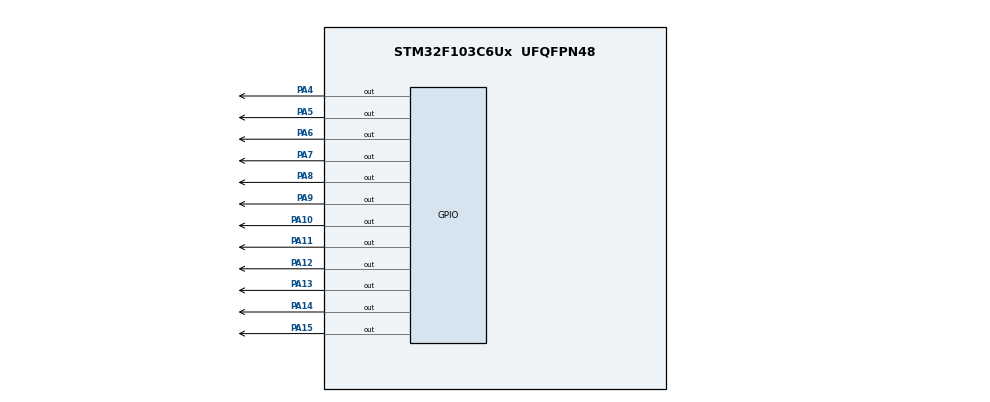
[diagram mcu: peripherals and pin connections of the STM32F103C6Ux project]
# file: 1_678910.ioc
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Mcu.Family=STM32F1
Mcu.Name=STM32F103C6Ux
Mcu.Package=UFQFPN48
NVIC.PriorityGroup=NVIC_PRIORITYGROUP_4
NVIC.TIM2_IRQn=true\:0\:0\:false\:false\:true\:true\:true\:true
PA10.Signal=GPIO_Output
PA11.Signal=GPIO_Output
PA12.Signal=GPIO_Output
PA13.Signal=GPIO_Output
PA14.Signal=GPIO_Output
PA15.Signal=GPIO_Output
PA4.Signal=GPIO_Output
PA5.Signal=GPIO_Output
PA6.Signal=GPIO_Output
PA7.Signal=GPIO_Output
PA8.Signal=GPIO_Output
PA9.Signal=GPIO_Output
ProjectManager.HeapSize=0x200
ProjectManager.StackSize=0x400
ProjectManager.TargetToolchain=STM32CubeIDE
RCC.APB1Freq_Value=8000000
RCC.APB2Freq_Value=8000000
TIM2.Period=9
TIM2.Prescaler=7999
VP_TIM2_VS_ClockSourceINT.Mode=Internal
board=custom

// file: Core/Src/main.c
/* USER CODE BEGIN Header */
/**
  ******************************************************************************
  * @file           : main.c
  * @brief          : Main program body
  ******************************************************************************
  * @attention
  *
  * Copyright (c) 2023 STMicroelectronics.
  * All rights reserved.
  *
  * This software is licensed under terms that can be found in the LICENSE file
  * in the root directory of this software component.
  * If no LICENSE file comes with this software, it is provided AS-IS.
  *
  ******************************************************************************
  */
/* USER CODE END Header */
#include "main.h"

/* USER CODE BEGIN Includes */
#include "softwaretimer.h"
/* USER CODE END Includes */

TIM_HandleTypeDef htim2;

void SystemClock_Config(void);
static void MX_GPIO_Init(void);
static void MX_TIM2_Init(void);

int main(void)
{

  /* MCU Configuration--------------------------------------------------------*/

  /* Reset of all peripherals, Initializes the Flash interface and the Systick. */
  HAL_Init();

  /* Configure the system clock */
  SystemClock_Config();

  /* Initialize all configured peripherals */
  MX_GPIO_Init();
  MX_TIM2_Init();
  /* USER CODE BEGIN 2 */
  HAL_TIM_Base_Start_IT(&htim2);
  settimer0(100);
  HAL_GPIO_TogglePin(GPIOA, GPIO_PIN_4);
  HAL_GPIO_TogglePin(GPIOA, GPIO_PIN_5);
  HAL_GPIO_TogglePin(GPIOA, GPIO_PIN_6);
  HAL_GPIO_TogglePin(GPIOA, GPIO_PIN_7);
  HAL_GPIO_TogglePin(GPIOA, GPIO_PIN_8);
  HAL_GPIO_TogglePin(GPIOA, GPIO_PIN_9);
  HAL_GPIO_TogglePin(GPIOA, GPIO_PIN_10);
  HAL_GPIO_TogglePin(GPIOA, GPIO_PIN_11);
  HAL_GPIO_TogglePin(GPIOA, GPIO_PIN_12);
  HAL_GPIO_TogglePin(GPIOA, GPIO_PIN_13);
  HAL_GPIO_TogglePin(GPIOA, GPIO_PIN_14);
  HAL_GPIO_TogglePin(GPIOA, GPIO_PIN_15);
  /* USER CODE END 2 */

  /* Infinite loop */
  while (1)
  {
	  if (timerflag0 == 1)
	  	  {
		  	  HAL_GPIO_TogglePin(GPIOA, GPIO_PIN_4);
		  	  HAL_GPIO_TogglePin(GPIOA, GPIO_PIN_5);
		  	  HAL_GPIO_TogglePin(GPIOA, GPIO_PIN_6);
		  	  HAL_GPIO_TogglePin(GPIOA, GPIO_PIN_7);
		  	  HAL_GPIO_TogglePin(GPIOA, GPIO_PIN_8);
		  	  HAL_GPIO_TogglePin(GPIOA, GPIO_PIN_9);
		  	  HAL_GPIO_TogglePin(GPIOA, GPIO_PIN_10);
		  	  HAL_GPIO_TogglePin(GPIOA, GPIO_PIN_11);
		  	  HAL_GPIO_TogglePin(GPIOA, GPIO_PIN_12);
		  	  HAL_GPIO_TogglePin(GPIOA, GPIO_PIN_13);
		  	  HAL_GPIO_TogglePin(GPIOA, GPIO_PIN_14);
		  	  HAL_GPIO_TogglePin(GPIOA, GPIO_PIN_15);
		  	  settimer0(100);
	  	  }
  }
}

void SystemClock_Config(void)
{
  RCC_OscInitTypeDef RCC_OscInitStruct = {0};
  RCC_ClkInitTypeDef RCC_ClkInitStruct = {0};

  /** Initializes the RCC Oscillators according to the specified parameters
  * in the RCC_OscInitTypeDef structure.
  */
  RCC_OscInitStruct.OscillatorType = RCC_OSCILLATORTYPE_HSI;
  RCC_OscInitStruct.HSIState = RCC_HSI_ON;
  RCC_OscInitStruct.HSICalibrationValue = RCC_HSICALIBRATION_DEFAULT;
  RCC_OscInitStruct.PLL.PLLState = RCC_PLL_NONE;
  if (HAL_RCC_OscConfig(&RCC_OscInitStruct) != HAL_OK)
  {
    Error_Handler();
  }

  /** Initializes the CPU, AHB and APB buses clocks
  */
  RCC_ClkInitStruct.ClockType = RCC_CLOCKTYPE_HCLK|RCC_CLOCKTYPE_SYSCLK
                              |RCC_CLOCKTYPE_PCLK1|RCC_CLOCKTYPE_PCLK2;
  RCC_ClkInitStruct.SYSCLKSource = RCC_SYSCLKSOURCE_HSI;
  RCC_ClkInitStruct.AHBCLKDivider = RCC_SYSCLK_DIV1;
  RCC_ClkInitStruct.APB1CLKDivider = RCC_HCLK_DIV1;
  RCC_ClkInitStruct.APB2CLKDivider = RCC_HCLK_DIV1;

  if (HAL_RCC_ClockConfig(&RCC_ClkInitStruct, FLASH_LATENCY_0) != HAL_OK)
  {
    Error_Handler();
  }
}

static void MX_TIM2_Init(void)
{

  TIM_ClockConfigTypeDef sClockSourceConfig = {0};
  TIM_MasterConfigTypeDef sMasterConfig = {0};

  htim2.Instance = TIM2;
  htim2.Init.Prescaler = 7999;
  htim2.Init.CounterMode = TIM_COUNTERMODE_UP;
  htim2.Init.Period = 9;
  htim2.Init.ClockDivision = TIM_CLOCKDIVISION_DIV1;
  htim2.Init.AutoReloadPreload = TIM_AUTORELOAD_PRELOAD_DISABLE;
  if (HAL_TIM_Base_Init(&htim2) != HAL_OK)
  {
    Error_Handler();
  }
  sClockSourceConfig.ClockSource = TIM_CLOCKSOURCE_INTERNAL;
  if (HAL_TIM_ConfigClockSource(&htim2, &sClockSourceConfig) != HAL_OK)
  {
    Error_Handler();
  }
  sMasterConfig.MasterOutputTrigger = TIM_TRGO_RESET;
  sMasterConfig.MasterSlaveMode = TIM_MASTERSLAVEMODE_DISABLE;
  if (HAL_TIMEx_MasterConfigSynchronization(&htim2, &sMasterConfig) != HAL_OK)
  {
    Error_Handler();
  }

}

static void MX_GPIO_Init(void)
{
  GPIO_InitTypeDef GPIO_InitStruct = {0};

  /* GPIO Ports Clock Enable */
  __HAL_RCC_GPIOA_CLK_ENABLE();

  /*Configure GPIO pin Output Level */
  HAL_GPIO_WritePin(GPIOA, GPIO_PIN_4|GPIO_PIN_5|GPIO_PIN_6|GPIO_PIN_7
                          |GPIO_PIN_8|GPIO_PIN_9|GPIO_PIN_10|GPIO_PIN_11
                          |GPIO_PIN_12|GPIO_PIN_13|GPIO_PIN_14|GPIO_PIN_15, GPIO_PIN_RESET);

  /*Configure GPIO pins : PA4 PA5 PA6 PA7
                           PA8 PA9 PA10 PA11
                           PA12 PA13 PA14 PA15 */
  GPIO_InitStruct.Pin = GPIO_PIN_4|GPIO_PIN_5|GPIO_PIN_6|GPIO_PIN_7
                          |GPIO_PIN_8|GPIO_PIN_9|GPIO_PIN_10|GPIO_PIN_11
                          |GPIO_PIN_12|GPIO_PIN_13|GPIO_PIN_14|GPIO_PIN_15;
  GPIO_InitStruct.Mode = GPIO_MODE_OUTPUT_PP;
  GPIO_InitStruct.Pull = GPIO_NOPULL;
  GPIO_InitStruct.Speed = GPIO_SPEED_FREQ_LOW;
  HAL_GPIO_Init(GPIOA, &GPIO_InitStruct);

}

/* USER CODE BEGIN 4 */
void HAL_TIM_PeriodElapsedCallback(TIM_HandleTypeDef *htim)
{
	runtimer0();
}
/* USER CODE END 4 */

void Error_Handler(void)
{
  __disable_irq();
  while (1)
  {
  }
}
